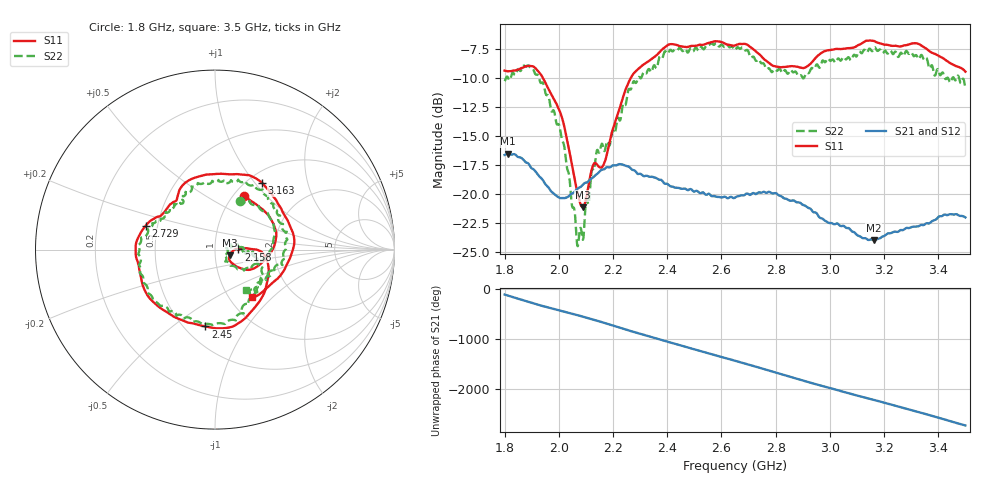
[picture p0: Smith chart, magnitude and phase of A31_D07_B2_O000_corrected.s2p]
! Created with skrf 1.9.0 (http://scikit-rf.org).
# Hz S RI R 50.0
!freq ReS11 ImS11 ReS21 ImS21 ReS12 ImS12 ReS22 ImS22
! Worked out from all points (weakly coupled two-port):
!   1601 points, 1.8 GHz to 3.5 GHz, reference 50 ohm
!   highest |S21| = -16.55 dB at 1.812 GHz (marker M1); lowest = -24.0 dB at 3.162 GHz (marker M2)
!   lowest |S11| = -21.2 dB at 2.088 GHz (marker M3), VSWR 1.19, Z = 58.7 - j3.85 ohm
!   |S11| at or under -10 dB: 1.941 GHz to 2.266 GHz (324.9 MHz wide, 15.4 % of centre)
!   |S22| runs from -24.5 to -7.0 dB; largest |S21 - S12| = 0.0027
!   S11 on the Smith chart (normalised r, x): 1.8 GHz: 1.12, +0.75; 2.158 GHz: 1.30, +0.00; 2.45 GHz: 0.63, -0.66; 2.729 GHz: 0.43, +0.14; 3.163 GHz: 1.16, +1.09; 3.5 GHz: 1.27, -0.76
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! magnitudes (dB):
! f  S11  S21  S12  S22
! 1.8 GHz  -9.4  -16.7  -16.7  -10.3
! 1.812 GHz  -9.4  -16.5  -16.6  -10.0
! 1.887 GHz  -9.0  -17.4  -17.4  -8.9
! 1.941 GHz  -10.0  -18.8  -18.8  -10.4
! 2.011 GHz  -13.4  -20.4  -20.4  -15.3
! 2.067 GHz  -19.7  -19.6  -19.6  -24.2
! 2.084 GHz  -21.1  -19.3  -19.3  -23.2
! 2.088 GHz  -21.2  -19.2  -19.3  -23.9
! 2.127 GHz  -17.5  -18.6  -18.6  -18.0
! 2.158 GHz  -17.7  -17.9  -17.9  -15.7
! 2.262 GHz  -10.2  -17.7  -17.7  -11.0
! 2.367 GHz  -7.9  -18.8  -18.7  -8.6
! 2.45 GHz  -7.3  -19.6  -19.6  -7.5
! 2.65 GHz  -7.2  -20.3  -20.3  -7.6
! 2.729 GHz  -7.8  -20.0  -20.0  -8.5
! 2.806 GHz  -9.1  -20.0  -20.0  -9.4
! 2.934 GHz  -8.7  -21.4  -21.4  -9.2
! 3.162 GHz  -6.8  -24.0  -23.9  -7.5
! 3.163 GHz  -6.8  -24.0  -23.9  -7.4
! 3.217 GHz  -7.2  -23.4  -23.4  -7.8
! 3.325 GHz  -7.1  -22.8  -22.8  -8.3
! 3.5 GHz  -9.5  -22.0  -22.0  -10.9
